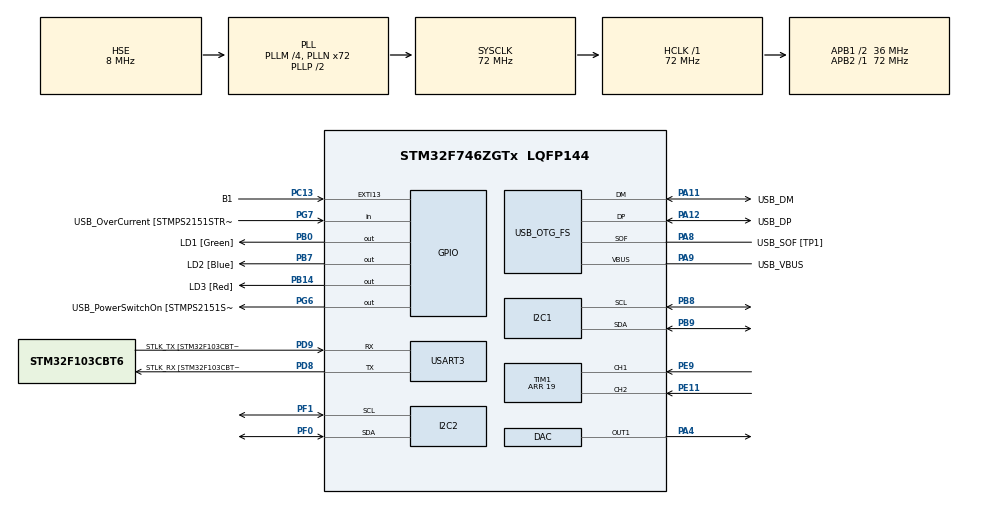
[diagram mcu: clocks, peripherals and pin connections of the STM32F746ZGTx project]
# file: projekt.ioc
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DAC.DAC_Trigger=DAC_TRIGGER_T4_TRGO
I2C1.Timing=0x00808CD2
I2C2.Timing=0x00808CD2
Mcu.Family=STM32F7
Mcu.Name=STM32F746ZGTx
Mcu.Package=LQFP144
NVIC.PriorityGroup=NVIC_PRIORITYGROUP_4
NVIC.TIM3_IRQn=true\:0\:0\:false\:false\:true\:true\:true\:true
NVIC.USART3_IRQn=true\:0\:0\:false\:false\:true\:true\:true\:true
PA1.GPIO_Label=RMII_REF_CLK [LAN8742A-CZ-TR_REFCLK0]
PA1.Signal=ETH_REF_CLK
PA10.GPIO_Label=USB_ID
PA10.Signal=USB_OTG_FS_ID
PA11.GPIO_Label=USB_DM
PA11.Mode=Device_Only
PA11.Signal=USB_OTG_FS_DM
PA12.GPIO_Label=USB_DP
PA12.Mode=Device_Only
PA12.Signal=USB_OTG_FS_DP
PA13.GPIO_Label=TMS
PA13.Mode=Serial_Wire
PA13.Signal=SYS_JTMS-SWDIO
PA14.GPIO_Label=TCK
PA14.Mode=Serial_Wire
PA14.Signal=SYS_JTCK-SWCLK
PA2.GPIO_Label=RMII_MDIO [LAN8742A-CZ-TR_MDIO]
PA2.Signal=ETH_MDIO
PA4.Signal=COMP_DAC1_group
PA7.GPIO_Label=RMII_CRS_DV [LAN8742A-CZ-TR_CRS_DV]
PA7.Signal=ETH_CRS_DV
PA8.GPIO_Label=USB_SOF [TP1]
PA8.Mode=Activate_SOF_FS
PA8.Signal=USB_OTG_FS_SOF
PA9.GPIO_Label=USB_VBUS
PA9.Mode=Activate_VBUS
PA9.Signal=USB_OTG_FS_VBUS
PB0.GPIO_Label=LD1 [Green]
PB0.Signal=GPIO_Output
PB13.GPIO_Label=RMII_TXD1 [LAN8742A-CZ-TR_TXD1]
PB13.Signal=ETH_TXD1
PB14.GPIO_Label=LD3 [Red]
PB14.Signal=GPIO_Output
PB3.GPIO_Label=SW0
PB3.Signal=SYS_JTDO-SWO
PB7.GPIO_Label=LD2 [Blue]
PB7.Signal=GPIO_Output
PB8.Mode=I2C
PB8.Signal=I2C1_SCL
PB9.Mode=I2C
PB9.Signal=I2C1_SDA
PC1.GPIO_Label=RMII_MDC [LAN8742A-CZ-TR_MDC]
PC1.Signal=ETH_MDC
PC13.GPIO_Label=B1
PC13.Signal=GPXTI13
PC14/OSC32_IN.Mode=LSE-External-Oscillator
PC14/OSC32_IN.Signal=RCC_OSC32_IN
PC15/OSC32_OUT.Mode=LSE-External-Oscillator
PC15/OSC32_OUT.Signal=RCC_OSC32_OUT
PC4.GPIO_Label=RMII_RXD0 [LAN8742A-CZ-TR_RXD0]
PC4.Signal=ETH_RXD0
PC5.GPIO_Label=RMII_RXD1 [LAN8742A-CZ-TR_RXD1]
PC5.Signal=ETH_RXD1
PD8.GPIO_Label=STLK_RX [STM32F103CBT6_PA3]
PD8.GPIO_PuPd=GPIO_PULLUP
PD8.Mode=Asynchronous
PD8.Signal=USART3_TX
PD9.GPIO_Label=STLK_TX [STM32F103CBT6_PA2]
PD9.GPIO_PuPd=GPIO_PULLUP
PD9.Mode=Asynchronous
PD9.Signal=USART3_RX
PE11.Signal=S_TIM1_CH2
PE9.Signal=S_TIM1_CH1
PF0.Mode=I2C
PF0.Signal=I2C2_SDA
PF1.Mode=I2C
PF1.Signal=I2C2_SCL
PG11.GPIO_Label=RMII_TX_EN [LAN8742A-CZ-TR_TXEN]
PG11.Signal=ETH_TX_EN
PG13.GPIO_Label=RMII_TXD0 [LAN8742A-CZ-TR_TXD0]
PG13.Signal=ETH_TXD0
PG6.GPIO_Label=USB_PowerSwitchOn [STMPS2151STR_EN]
PG6.Signal=GPIO_Output
PG7.GPIO_Label=USB_OverCurrent [STMPS2151STR_FAULT]
PG7.Signal=GPIO_Input
PH0/OSC_IN.GPIO_Label=MCO [STM32F103CBT6_PA8]
PH0/OSC_IN.Mode=HSE-External-Clock-Source
PH0/OSC_IN.Signal=RCC_OSC_IN
PH1/OSC_OUT.Mode=HSE-External-Clock-Source
PH1/OSC_OUT.Signal=RCC_OSC_OUT
ProjectManager.HeapSize=0x200
ProjectManager.StackSize=0x400
ProjectManager.TargetToolchain=STM32CubeIDE
RCC.48MHZClocksFreq_Value=24000000
RCC.AHBFreq_Value=72000000
RCC.APB1CLKDivider=RCC_HCLK_DIV2
RCC.APB1Freq_Value=36000000
RCC.APB1TimFreq_Value=72000000
RCC.APB2Freq_Value=72000000
RCC.APB2TimFreq_Value=72000000
RCC.CortexFreq_Value=72000000
RCC.HCLKFreq_Value=72000000
RCC.HSE_VALUE=8000000
RCC.HSI_VALUE=16000000
RCC.PLLM=4
RCC.PLLMUL=RCC_PLL_MUL9
RCC.PLLN=72
RCC.PLLQ=3
RCC.PRESCALERUSB=RCC_USBCLKSOURCE_PLL_DIV1_5
RCC.SYSCLKFreq_VALUE=72000000
RCC.SYSCLKSource=RCC_SYSCLKSOURCE_PLLCLK
RCC.SYSCLKSourceVirtual=RCC_SYSCLKSOURCE_PLLCLK
RCC.USBFreq_Value=48000000
RCC.VCOOutputFreq_Value=144000000
SH.COMP_DAC1_group.0=DAC_OUT1,DAC_OUT1
SH.S_TIM1_CH1.0=TIM1_CH1,Encoder_Interface
SH.S_TIM1_CH2.0=TIM1_CH2,Encoder_Interface
TIM1.Period=19
TIM3.Period=9999
TIM3.Prescaler=719
TIM4.Period=9999
TIM4.Prescaler=719
TIM4.TIM_MasterOutputTrigger=TIM_TRGO_UPDATE
USART3.VirtualMode-Asynchronous=VM_ASYNC
USB_OTG_FS.VirtualMode=Device_Only
VP_TIM3_VS_ClockSourceINT.Mode=Internal
VP_TIM4_VS_ClockSourceINT.Mode=Internal
board=NUCLEO-F746ZG

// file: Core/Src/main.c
/* USER CODE BEGIN Header */
/**
  ******************************************************************************
  * @file           : main.c
  * @brief          : Main program body
  ******************************************************************************
  * @attention
  *
  * Copyright (c) 2023 STMicroelectronics.
  * All rights reserved.
  *
  * This software is licensed under terms that can be found in the LICENSE file
  * in the root directory of this software component.
  * If no LICENSE file comes with this software, it is provided AS-IS.
  *
  ******************************************************************************
  */
/* USER CODE END Header */
#include "main.h"
#include "dac.h"
#include "i2c.h"
#include "tim.h"
#include "usart.h"
#include "usb_otg.h"
#include "gpio.h"

/* USER CODE BEGIN Includes */
#include "BMPXX80.h"
#include <string.h>
#include <stdio.h>
#include <stdint.h>

#include "lcd_i2c.h"
#include <stdbool.h>
/* USER CODE END Includes */

/* USER CODE BEGIN PTD */
typedef float float32_t;

/* USER CODE END PTD */

/* USER CODE BEGIN PV */
float temperature;
int32_t pressure;
char text[] = "12345";
int sterowanie = 0;
float pid_output;

float Kp = 200;
float Ki = 5;
float Kd = 1;
float dt = 0.1;
float previous_error = 0;
float previous_integral = 0;

float target_temperature;

int pid_output_int;

struct lcd_disp disp;

int impulsy;
int target_enkoder;

char rx_buffer[2];
int target_uart = 25;
/* USER CODE END PV */

void SystemClock_Config(void);

/* USER CODE BEGIN 0 */
float calculate_discrete_pid(float setpoint, float measured)
{
	float u=0, P, I, D, error, integral, derivative;

	// Uchyb
	error = setpoint-measured;

	// Czlon proporcjonalny
	P = Kp * error;

	// Czlon calkujacy
	integral = previous_integral + (error+previous_error) ;
	if(integral < 0)
		integral = 0;
	if(integral > 2000)
		integral = 2000;
	previous_integral = integral;
	I = Ki*integral*(dt/2.0);

	// Czlon rozniczkujacy
	derivative = (error - previous_error)/dt;
	previous_error = error;
	D = Kd*derivative;

	// Suma czlonow
	u = P * (1.0 + I + D);

	// Ograniczenie sygnalu sterujacego
	if(u>2000)
		return 2000;
	else if(u<0)
		return 0;
	return u;
}
/* USER CODE END 0 */

int main(void)
{

  /* MCU Configuration--------------------------------------------------------*/

  /* Reset of all peripherals, Initializes the Flash interface and the Systick. */
  HAL_Init();

  /* Configure the system clock */
  SystemClock_Config();

  /* Initialize all configured peripherals */
  MX_GPIO_Init();
  MX_USART3_UART_Init();
  MX_USB_OTG_FS_PCD_Init();
  MX_I2C1_Init();
  MX_DAC_Init();
  MX_TIM4_Init();
  MX_I2C2_Init();
  MX_TIM1_Init();
  MX_TIM3_Init();
  /* USER CODE BEGIN 2 */

  // Inicjalizacja czujnika BMP280
  BMP280_Init(&hi2c2, BMP280_TEMPERATURE_16BIT, BMP280_STANDARD, BMP280_FORCEDMODE);

  // Inicjalizacja timerow oraz wyjscia PWM
  HAL_TIM_Base_Start(&htim4);
  HAL_TIM_Base_Start_IT(&htim3);
  HAL_DAC_Start(&hdac, DAC_CHANNEL_1);

  // Obsluga LCD
  disp.addr = (0x27 << 1);
  disp.bl = true;
  lcd_init(&disp);

  // Enkoder - inicjalizacja
  HAL_TIM_Encoder_Start(&htim1, TIM_CHANNEL_ALL);
  __HAL_TIM_SET_COUNTER(&htim1, 1000);

  // Zmienna zatwierdzajaca od przycisku
  int x = 1;

  // Inicjalizacja przerwania do odczytu danych z UART
  HAL_UART_Receive_IT(&huart3, rx_buffer, 2);

  /* USER CODE END 2 */

  /* Infinite loop */
  while (1)
  {

    /* USER CODE BEGIN 3 */
	// Odczyt temperatury z czujnika
	BMP280_ReadTemperatureAndPressure(&temperature, &pressure);

	// Wysylanie aktualnej temperatury przez UART
	sprintf((char*)text, "%.2f, ", temperature);
	HAL_UART_Transmit(&huart3, (uint8_t*)text, strlen(text), 1000);

	// Obsluga enkodera
	impulsy = __HAL_TIM_GET_COUNTER(&htim1);
	target_enkoder = (impulsy/2) - 500 + 25;

	// Wyswietlanie aktualnej temperatury
	sprintf((char*)disp.s_line, "Aktualna = %.2f", temperature);

	// Obsluga przycisku i zmiana trybu dzialania
	if(HAL_GPIO_ReadPin(B1_GPIO_Port, B1_Pin))
		x = x+1;

	switch (x){
		case 1:
			target_temperature = target_uart;
			sprintf((char*)disp.f_line, "Zadana (PC) = %u", target_uart);
			break;
		case 2:
			target_temperature = target_enkoder;
			sprintf((char*)disp.f_line, "Zadana (EN) = %u", target_enkoder);
			break;
		case 3:
			x = 1;
			break;
	}

	// Wyswietlanie na LCD
	lcd_display(&disp);
	HAL_Delay(200);
  }
  /* USER CODE END 3 */
}

void SystemClock_Config(void)
{
  RCC_OscInitTypeDef RCC_OscInitStruct = {0};
  RCC_ClkInitTypeDef RCC_ClkInitStruct = {0};

  /** Configure LSE Drive Capability
  */
  HAL_PWR_EnableBkUpAccess();

  /** Configure the main internal regulator output voltage
  */
  __HAL_RCC_PWR_CLK_ENABLE();
  __HAL_PWR_VOLTAGESCALING_CONFIG(PWR_REGULATOR_VOLTAGE_SCALE3);

  /** Initializes the RCC Oscillators according to the specified parameters
  * in the RCC_OscInitTypeDef structure.
  */
  RCC_OscInitStruct.OscillatorType = RCC_OSCILLATORTYPE_HSE;
  RCC_OscInitStruct.HSEState = RCC_HSE_BYPASS;
  RCC_OscInitStruct.PLL.PLLState = RCC_PLL_ON;
  RCC_OscInitStruct.PLL.PLLSource = RCC_PLLSOURCE_HSE;
  RCC_OscInitStruct.PLL.PLLM = 4;
  RCC_OscInitStruct.PLL.PLLN = 72;
  RCC_OscInitStruct.PLL.PLLP = RCC_PLLP_DIV2;
  RCC_OscInitStruct.PLL.PLLQ = 3;
  if (HAL_RCC_OscConfig(&RCC_OscInitStruct) != HAL_OK)
  {
    Error_Handler();
  }

  /** Initializes the CPU, AHB and APB buses clocks
  */
  RCC_ClkInitStruct.ClockType = RCC_CLOCKTYPE_HCLK|RCC_CLOCKTYPE_SYSCLK
                              |RCC_CLOCKTYPE_PCLK1|RCC_CLOCKTYPE_PCLK2;
  RCC_ClkInitStruct.SYSCLKSource = RCC_SYSCLKSOURCE_PLLCLK;
  RCC_ClkInitStruct.AHBCLKDivider = RCC_SYSCLK_DIV1;
  RCC_ClkInitStruct.APB1CLKDivider = RCC_HCLK_DIV2;
  RCC_ClkInitStruct.APB2CLKDivider = RCC_HCLK_DIV1;

  if (HAL_RCC_ClockConfig(&RCC_ClkInitStruct, FLASH_LATENCY_2) != HAL_OK)
  {
    Error_Handler();
  }
}

/* USER CODE BEGIN 4 */
// Przerwanie co 100ms odpowiedzialne za policzenie sygnalu sterujacego
void HAL_TIM_PeriodElapsedCallback(TIM_HandleTypeDef *htim)
{
	if(htim == &htim3)
	{
		// Migajaca dioda sygnalizujaca dzialanie
		HAL_GPIO_TogglePin(LD2_GPIO_Port, LD2_Pin);

		// Wywolanie funkcji PID
		pid_output = calculate_discrete_pid(target_temperature, temperature);
		pid_output_int = pid_output;

		// Ustawienie obliczonej wartosci na wyjsciu PWM
		HAL_DAC_SetValue(&hdac, DAC_CHANNEL_1,DAC_ALIGN_12B_R, pid_output_int);
	}
}

// Przerwanie od odbioru danych z UART
void HAL_UART_RxCpltCallback(UART_HandleTypeDef *huart)
{
	// Restart przerwania
	HAL_UART_Receive_IT(&huart3, rx_buffer, 2);

	// Konwersja na Int
	target_uart = atoi(rx_buffer);
}
/* USER CODE END 4 */

void Error_Handler(void)
{
  __disable_irq();
  while (1)
  {
  }
}
